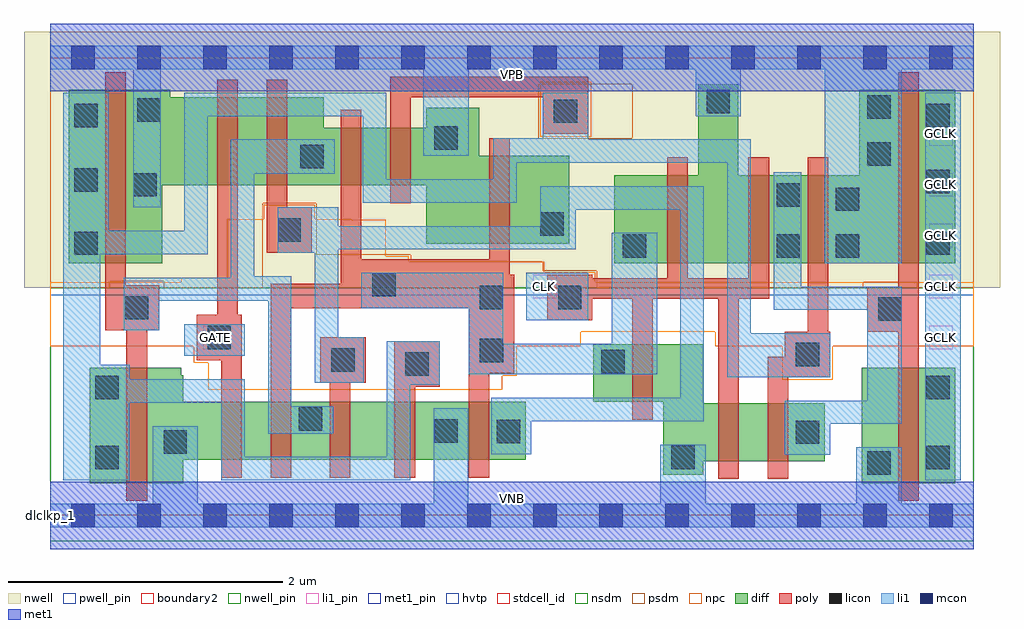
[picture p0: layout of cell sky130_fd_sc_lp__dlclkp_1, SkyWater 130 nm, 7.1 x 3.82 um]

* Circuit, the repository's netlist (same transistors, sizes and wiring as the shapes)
* Copyright 2020 The SkyWater PDK Authors
*
* Licensed under the Apache License, Version 2.0 (the "License");
* you may not use this file except in compliance with the License.
* You may obtain a copy of the License at
*
*     https://www.apache.org/licenses/LICENSE-2.0
*
* Unless required by applicable law or agreed to in writing, software
* distributed under the License is distributed on an "AS IS" BASIS,
* WITHOUT WARRANTIES OR CONDITIONS OF ANY KIND, either express or implied.
* See the License for the specific language governing permissions and
* limitations under the License.
*
* SPDX-License-Identifier: Apache-2.0

.SUBCKT sky130_fd_sc_lp__dlclkp_1 CLK GATE VGND VNB VPB VPWR GCLK
*.PININFO CLK:I GATE:I VGND:I VNB:I VPB:I VPWR:I GCLK:O
MI662 net75 m1 VPWR VPB sky130_fd_pr__pfet_01v8_hvt m=1 w=0.42U l=0.15U mult=1
+ sa=0.265 sb=0.265 sd=0.28 area=0.063 perim=1.14
MI664 M0 clkpos net75 VPB sky130_fd_pr__pfet_01v8_hvt m=1 w=0.42U l=0.15U mult=1
+ sa=0.265 sb=0.265 sd=0.28 area=0.063 perim=1.14
MI659 net63 CLK VPWR VPB sky130_fd_pr__pfet_01v8_hvt m=1 w=0.64U l=0.15U mult=1
+ sa=0.265 sb=0.265 sd=0.28 area=0.063 perim=1.14
MI658 net63 m1 VPWR VPB sky130_fd_pr__pfet_01v8_hvt m=1 w=0.64U l=0.15U mult=1
+ sa=0.265 sb=0.265 sd=0.28 area=0.063 perim=1.14
MI19 m1 M0 VPWR VPB sky130_fd_pr__pfet_01v8_hvt m=1 w=1.26U l=0.15U mult=1 sa=0.265
+ sb=0.265 sd=0.28 area=0.063 perim=1.14
MI38 M0 clkneg net54 VPB sky130_fd_pr__pfet_01v8_hvt m=1 w=0.64U l=0.15U mult=1
+ sa=0.265 sb=0.265 sd=0.28 area=0.063 perim=1.14
MI37 net54 GATE VPWR VPB sky130_fd_pr__pfet_01v8_hvt m=1 w=0.64U l=0.15U mult=1
+ sa=0.265 sb=0.265 sd=0.28 area=0.063 perim=1.14
MI47 clkneg clkpos VPWR VPB sky130_fd_pr__pfet_01v8_hvt m=1 w=0.64U l=0.15U mult=1
+ sa=0.265 sb=0.265 sd=0.28 area=0.063 perim=1.14
MI45 clkpos CLK VPWR VPB sky130_fd_pr__pfet_01v8_hvt m=1 w=0.64U l=0.15U mult=1
+ sa=0.265 sb=0.265 sd=0.28 area=0.063 perim=1.14
MI660 GCLK net63 VPWR VPB sky130_fd_pr__pfet_01v8_hvt m=1 w=1.26U l=0.15U mult=1
+ sa=0.265 sb=0.265 sd=0.28 area=0.063 perim=1.14
MI20 m1 M0 VGND VNB sky130_fd_pr__nfet_01v8 m=1 w=0.84U l=0.15U mult=1 sa=0.265
+ sb=0.265 sd=0.28 area=0.063 perim=1.14
MI655 M0 clkneg net110 VNB sky130_fd_pr__nfet_01v8 m=1 w=0.42U l=0.15U mult=1 sa=0.265
+ sb=0.265 sd=0.28 area=0.063 perim=1.14
MI654 net110 m1 VGND VNB sky130_fd_pr__nfet_01v8 m=1 w=0.42U l=0.15U mult=1 sa=0.265
+ sb=0.265 sd=0.28 area=0.063 perim=1.14
MI34 M0 clkpos net91 VNB sky130_fd_pr__nfet_01v8 m=1 w=0.42U l=0.15U mult=1 sa=0.265
+ sb=0.265 sd=0.28 area=0.063 perim=1.14
MI657 net99 CLK VGND VNB sky130_fd_pr__nfet_01v8 m=1 w=0.42U l=0.15U mult=1 sa=0.265
+ sb=0.265 sd=0.28 area=0.063 perim=1.14
MI656 net63 m1 net99 VNB sky130_fd_pr__nfet_01v8 m=1 w=0.42U l=0.15U mult=1 sa=0.265
+ sb=0.265 sd=0.28 area=0.063 perim=1.14
MI36 net91 GATE VGND VNB sky130_fd_pr__nfet_01v8 m=1 w=0.42U l=0.15U mult=1 sa=0.265
+ sb=0.265 sd=0.28 area=0.063 perim=1.14
MI46 clkneg clkpos VGND VNB sky130_fd_pr__nfet_01v8 m=1 w=0.42U l=0.15U mult=1
+ sa=0.265 sb=0.265 sd=0.28 area=0.063 perim=1.14
MI44 clkpos CLK VGND VNB sky130_fd_pr__nfet_01v8 m=1 w=0.42U l=0.15U mult=1 sa=0.265
+ sb=0.265 sd=0.28 area=0.063 perim=1.14
MI653 GCLK net63 VGND VNB sky130_fd_pr__nfet_01v8 m=1 w=0.84U l=0.15U mult=1 sa=0.265
+ sb=0.265 sd=0.28 area=0.063 perim=1.14
.ENDS sky130_fd_sc_lp__dlclkp_1

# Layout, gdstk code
import gdstk
lib = gdstk.Library(unit=1e-6, precision=1e-09)
def R(c, l, rs):  # rectangles x0, y0, x1, y1
    for r in rs: c.add(gdstk.rectangle(r[:2], r[2:], *l))
def A(c, l, x, y, w, h, nx, ny, dx, dy):  # array of equal rectangles
    R(c, l, [(x+i*dx, y+j*dy, x+i*dx+w, y+j*dy+h) for i in range(nx) for j in range(ny)])
def P(c, l, *ps):  # polygons
    for p in ps: c.add(gdstk.Polygon(p, *l))
nwell_pin = (64, 16)
nwell = (64, 20)
diff = (65, 20)
poly = (66, 20)
licon = (66, 44)
li1_pin = (67, 16)
li1 = (67, 20)
mcon = (67, 44)
met1_pin = (68, 16)
met1 = (68, 20)
hvtp = (78, 44)
stdcell_id = (81, 4)
nsdm = (93, 44)
psdm = (94, 20)
npc = (95, 20)
pwell_pin = (122, 16)
boundary2 = (236, 0)

sky130_fd_sc_lp__dlclkp_ = lib.new_cell('sky130_fd_sc_lp__dlclkp_1')
R(sky130_fd_sc_lp__dlclkp_, nwell_pin, [(0,3.085,6.72,3.33)])
R(sky130_fd_sc_lp__dlclkp_, nwell, [(-0.19,1.655,6.91,3.52)])
R(sky130_fd_sc_lp__dlclkp_, diff, [(5.905,0.235,6.585,1.075)])
P(sky130_fd_sc_lp__dlclkp_, diff, [(3.46,0.825),(0.97,0.825),(0.97,1.02),(0.955,1.02),(0.955,1.075),(0.29,1.075),(0.29,0.235),(0.97,0.235),(0.97,0.405),(3.46,0.405)],
  [(3.775,2.615),(3.12,2.615),(3.12,2.965),(2.735,2.965),(2.735,2.82),(1.99,2.82),(1.99,3.04),(0.875,3.04),(0.875,3.095),(0.135,3.095),(0.135,1.835),(0.815,1.835),(0.815,2.4),(2.735,2.4),(2.735,1.975),(3.775,1.975)],
  [(5.635,0.815),(4.75,0.815),(4.75,1.245),(3.95,1.245),(3.95,0.825),(4.46,0.825),(4.46,0.295),(4.75,0.295),(4.75,0.395),(5.635,0.395)],
  [(6.585,3.095),(5.885,3.095),(5.885,2.475),(5.005,2.475),(5.005,3.135),(4.715,3.135),(4.715,2.475),(4.105,2.475),(4.105,1.835),(6.585,1.835)])
P(sky130_fd_sc_lp__dlclkp_, poly, [(0.795,1.675),(0.55,1.675),(0.55,3.225),(0.4,3.225),(0.4,1.345),(0.555,1.345),(0.555,0.105),(0.705,0.105),(0.705,1.345),(0.795,1.345)],
  [(1.395,1.46),(1.365,1.46),(1.365,3.17),(1.215,3.17),(1.215,1.46),(1.065,1.46),(1.065,1.13),(1.245,1.13),(1.245,0.275),(1.395,0.275)],
  [(1.905,2.24),(1.725,2.24),(1.725,3.17),(1.575,3.17),(1.575,1.91),(1.905,1.91)],
  [(2.295,1.295),(1.965,1.295),(1.965,0.965),(2.035,0.965),(2.035,0.275),(2.185,0.275),(2.185,0.965),(2.295,0.965)],
  [(2.835,1.265),(2.505,1.265),(2.505,0.275),(2.655,0.275),(2.655,0.935),(2.835,0.935)],
  [(3.375,1.75),(3.345,1.75),(3.345,2.745),(3.195,2.745),(3.195,1.865),(2.265,1.865),(2.265,2.95),(2.115,2.95),(2.115,1.685),(1.605,1.685),(1.605,0.275),(1.755,0.275),(1.755,1.505),(3.045,1.505),(3.045,0.275),(3.195,0.275),(3.195,1.035),(3.375,1.035)],
  [(3.915,3.19),(2.475,3.19),(2.475,2.27),(2.625,2.27),(2.625,3.04),(3.585,3.04),(3.585,2.775),(3.915,2.775)],
  [(5.23,2.605),(5.08,2.605),(5.08,1.725),(4.64,1.725),(4.64,2.605),(4.49,2.605),(4.49,1.725),(3.945,1.725),(3.945,1.75),(3.615,1.75),(3.615,1.42),(3.945,1.42),(3.945,1.575),(4.235,1.575),(4.235,0.695),(4.385,0.695),(4.385,1.575),(4.86,1.575),(4.86,0.265),(5.01,0.265),(5.01,1.575),(5.23,1.575)],
  [(5.675,1.335),(5.66,1.335),(5.66,2.605),(5.51,2.605),(5.51,1.335),(5.345,1.335),(5.345,1.155),(5.22,1.155),(5.22,0.265),(5.37,0.265),(5.37,1.005),(5.675,1.005)],
  [(6.32,3.225),(6.17,3.225),(6.17,1.665),(5.945,1.665),(5.945,1.335),(6.17,1.335),(6.17,0.105),(6.32,0.105)])
R(sky130_fd_sc_lp__dlclkp_, licon, [(5.945,0.295,6.115,0.465), (0.33,0.335,0.5,0.505), (4.52,0.335,4.69,0.505), (6.375,0.335,6.545,0.505), (0.825,0.45,0.995,0.62), (5.425,0.52,5.595,0.69), (3.25,0.525,3.42,0.695), (2.795,0.53,2.965,0.7), (1.81,0.615,1.98,0.785), (0.33,0.845,0.5,1.015), (6.375,0.845,6.545,1.015), (2.585,1.015,2.755,1.185), (4.01,1.035,4.18,1.205), (2.045,1.045,2.215,1.215), (5.425,1.085,5.595,1.255), (3.125,1.115,3.295,1.285), (1.145,1.21,1.315,1.38), (6.025,1.415,6.195,1.585), (0.545,1.425,0.715,1.595), (3.125,1.5,3.295,1.67), (3.695,1.5,3.865,1.67), (2.345,1.595,2.515,1.765), (4.165,1.875,4.335,2.045), (5.285,1.875,5.455,2.045), (5.715,1.875,5.885,2.045), (0.175,1.895,0.345,2.065), (6.375,1.895,6.545,2.065), (1.655,1.99,1.825,2.16), (3.565,2.035,3.735,2.205), (5.715,2.215,5.885,2.385), (5.285,2.245,5.455,2.415), (0.605,2.32,0.775,2.49), (6.375,2.345,6.545,2.515), (0.175,2.355,0.345,2.525), (1.82,2.525,1.99,2.695), (5.945,2.545,6.115,2.715), (2.795,2.66,2.965,2.83), (0.175,2.825,0.345,2.995), (6.375,2.825,6.545,2.995), (3.665,2.855,3.835,3.025), (0.635,2.865,0.805,3.035), (5.945,2.885,6.115,3.055), (4.775,2.925,4.945,3.095)])
A(sky130_fd_sc_lp__dlclkp_, li1_pin, 6.395, 1.21, 0.17, 0.17, 1, 5, 0, 0.37)
R(sky130_fd_sc_lp__dlclkp_, li1_pin, [(1.115,1.21,1.285,1.38), (3.515,1.58,3.685,1.75)])
R(sky130_fd_sc_lp__dlclkp_, li1, [(6.365,0.255,6.625,3.075), (0.975,1.16,1.415,1.39), (3.465,1.42,3.915,1.765)])
P(sky130_fd_sc_lp__dlclkp_, li1, [(1.925,1.91),(1.655,1.91),(1.655,2.24),(2.095,2.24),(2.095,2.105),(3.565,2.105),(3.565,2.395),(4.755,2.395),(4.755,0.685),(3.5,0.685),(3.5,0.445),(3.21,0.445),(3.21,0.855),(4.585,0.855),(4.585,2.225),(3.825,2.225),(3.825,1.935),(2.095,1.935),(2.095,1.295),(2.28,1.295),(2.28,0.965),(1.925,0.965)],
  [(3.585,2.745),(3.585,3.075),(3.915,3.075),(3.915,2.735),(5.095,2.735),(5.095,1.325),(5.675,1.325),(5.675,1.005),(4.925,1.005),(4.925,2.565),(3.395,2.565),(3.395,2.275),(2.275,2.275),(2.275,2.905),(1.145,2.905),(1.145,1.9),(0.365,1.9),(0.365,1.095),(0.58,1.095),(0.58,0.99),(1.415,0.99),(1.415,0.425),(2.45,0.425),(2.45,1.265),(2.835,1.265),(2.835,0.95),(2.62,0.95),(2.62,0.255),(1.245,0.255),(1.245,0.82),(0.575,0.82),(0.575,0.255),(0.095,0.255),(0.095,3.075),(0.425,3.075),(0.425,2.07),(0.975,2.07),(0.975,3.075),(2.445,3.075),(2.445,2.445),(3.225,2.445),(3.225,2.745)],
  [(2.715,2.615),(2.715,3.245),(0.805,3.245),(0.805,2.24),(0.605,2.24),(0.605,3.245),(0,3.245),(0,3.415),(6.72,3.415),(6.72,3.245),(6.195,3.245),(6.195,1.835),(5.635,1.835),(5.635,3.245),(5.025,3.245),(5.025,2.905),(4.695,2.905),(4.695,3.245),(3.045,3.245),(3.045,2.615)],
  [(4.44,0.085),(4.44,0.515),(4.77,0.515),(4.77,0.085),(5.865,0.085),(5.865,0.495),(6.195,0.495),(6.195,0.085),(6.72,0.085),(6.72,-0.085),(0,-0.085),(0,0.085),(0.745,0.085),(0.745,0.65),(1.075,0.65),(1.075,0.085),(2.79,0.085),(2.79,0.78),(3.04,0.78),(3.04,0.085)],
  [(5.465,1.665),(6.195,1.665),(6.195,0.665),(5.675,0.665),(5.675,0.44),(5.345,0.44),(5.345,0.835),(5.945,0.835),(5.945,1.495),(5.265,1.495),(5.265,2.495),(5.465,2.495)],
  [(4.415,2.055),(4.085,2.055),(4.085,1.25),(3.295,1.25),(3.295,1.765),(2.265,1.765),(2.265,1.505),(3.045,1.505),(3.045,1.025),(4.415,1.025)],
  [(1.315,2.735),(2.07,2.735),(2.07,2.485),(1.485,2.485),(1.485,1.74),(1.755,1.74),(1.755,0.795),(2.06,0.795),(2.06,0.595),(1.585,0.595),(1.585,1.56),(0.795,1.56),(0.795,1.345),(0.535,1.345),(0.535,1.73),(1.315,1.73)])
A(sky130_fd_sc_lp__dlclkp_, mcon, 0.155, -0.085, 0.17, 0.17, 14, 2, 0.48, 3.33)
R(sky130_fd_sc_lp__dlclkp_, met1_pin, [(0,0,6.72,0.245), (0,3.085,6.72,3.33)])
R(sky130_fd_sc_lp__dlclkp_, met1, [(0,-0.245,6.72,0.245), (0,3.085,6.72,3.575)])
R(sky130_fd_sc_lp__dlclkp_, hvtp, [(0,1.6,6.72,3.33)])
R(sky130_fd_sc_lp__dlclkp_, stdcell_id, [(0,0,6.72,3.33)])
R(sky130_fd_sc_lp__dlclkp_, nsdm, [(0,-0.19,6.72,1.655)])
P(sky130_fd_sc_lp__dlclkp_, psdm, [(6.72,3.52),(4.235,3.52),(4.235,2.745),(3.555,2.745),(3.555,3.135),(4.235,3.135),(4.235,3.52),(0,3.52),(0,1.655),(0.435,1.655),(0.435,1.705),(0.825,1.705),(0.825,1.655),(1.545,1.655),(1.545,2.27),(1.935,2.27),(1.935,1.895),(2.625,1.895),(2.625,1.845),(3.585,1.845),(3.585,1.78),(3.975,1.78),(3.975,1.655),(5.915,1.655),(5.915,1.695),(6.305,1.695),(6.305,1.655),(6.72,1.655)])
R(sky130_fd_sc_lp__dlclkp_, npc, [(3.565,2.755,3.935,3.155)])
P(sky130_fd_sc_lp__dlclkp_, npc, [(6.72,1.695),(3.965,1.695),(3.965,1.77),(3.595,1.77),(3.595,1.845),(2.61,1.845),(2.61,1.885),(2.44,1.885),(2.44,2.15),(2.19,2.15),(2.19,2.155),(1.925,2.155),(1.925,2.26),(1.555,2.26),(1.555,2.155),(1.29,2.155),(1.29,1.73),(0.955,1.73),(0.955,1.695),(0,1.695),(0,1.23),(1.045,1.23),(1.045,1.11),(1.15,1.11),(1.15,0.915),(3.29,0.915),(3.29,1.015),(3.395,1.015),(3.395,1.23),(3.86,1.23),(3.86,1.335),(4.84,1.335),(4.84,1.23),(5.325,1.23),(5.325,0.985),(5.695,0.985),(5.695,1.23),(6.72,1.23)])
R(sky130_fd_sc_lp__dlclkp_, pwell_pin, [(0,0,6.72,0.245)])
R(sky130_fd_sc_lp__dlclkp_, boundary2, [(0,0,6.72,3.33)])
sky130_fd_sc_lp__dlclkp_.add(gdstk.Label('VNB', (3.36,0.123), layer=64, texttype=59))
sky130_fd_sc_lp__dlclkp_.add(gdstk.Label('VPB', (3.36,3.208), layer=64, texttype=5))
sky130_fd_sc_lp__dlclkp_.add(gdstk.Label('dlclkp_1', (0,0), layer=83, texttype=44))
sky130_fd_sc_lp__dlclkp_.add(gdstk.Label('VPWR', (3.36,3.208), layer=68, texttype=5))
sky130_fd_sc_lp__dlclkp_.add(gdstk.Label('VGND', (3.36,0.123), layer=68, texttype=5))
sky130_fd_sc_lp__dlclkp_.add(gdstk.Label('CLK', (3.6,1.665), layer=67, texttype=5))
sky130_fd_sc_lp__dlclkp_.add(gdstk.Label('GATE', (1.2,1.295), layer=67, texttype=5))
sky130_fd_sc_lp__dlclkp_.add(gdstk.Label('GCLK', (6.48,1.295), layer=67, texttype=5))
sky130_fd_sc_lp__dlclkp_.add(gdstk.Label('GCLK', (6.48,1.665), layer=67, texttype=5))
sky130_fd_sc_lp__dlclkp_.add(gdstk.Label('GCLK', (6.48,2.035), layer=67, texttype=5))
sky130_fd_sc_lp__dlclkp_.add(gdstk.Label('GCLK', (6.48,2.405), layer=67, texttype=5))
sky130_fd_sc_lp__dlclkp_.add(gdstk.Label('GCLK', (6.48,2.775), layer=67, texttype=5))

lib.write_gds('sky130_fd_sc_lp__dlclkp_1.gds')
